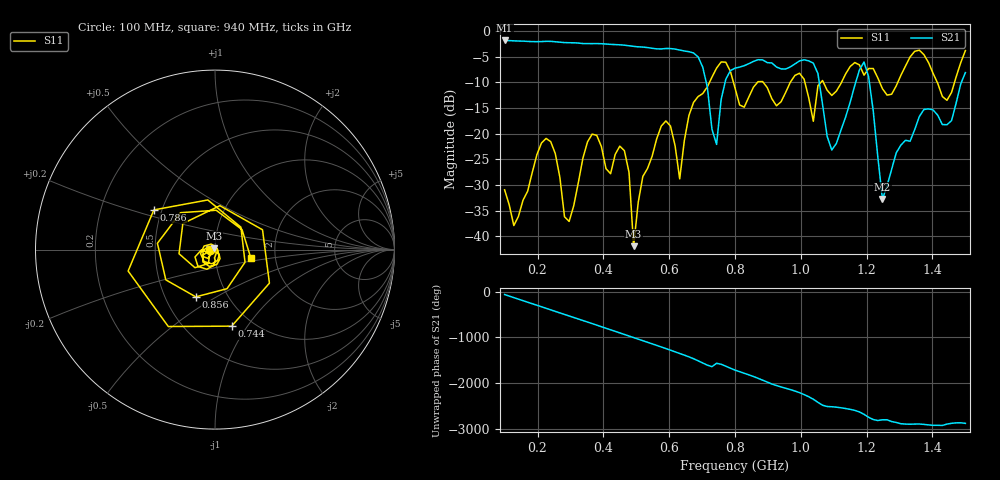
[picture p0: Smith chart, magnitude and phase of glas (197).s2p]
! NanoVNA-App
! Date: 2025-09-25 15:57:00
! Start: 100MHz Stop: 1,5GHz Points: 101
! S-Parameter data: F S11 S21 S12 S22
# Hz S RI R 50
!  Frequency  S11_Real  S11_Imag  S21_Real  S21_Imag  S12_Real  S12_Imag  S22_Real  S22_Imag
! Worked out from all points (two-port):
!   101 points, 100 MHz to 1.5 GHz, reference 50 ohm
!   highest |S21| = -1.80 dB at 100 MHz (marker M1); lowest = -32.7 dB at 1.248 GHz (marker M2)
!   |S21| within 3 dB of the highest: start of sweep to 684.1 MHz
!   lowest |S11| = -42.0 dB at 492 MHz (marker M3), VSWR 1.02, Z = 49.5 + j0.612 ohm
!   |S11| at or under -10 dB: start of sweep to 722.3 MHz; 795.4 MHz to 868.1 MHz (72.69 MHz wide, 8.74 % of centre); 886.1 MHz to 967.7 MHz (81.66 MHz wide, 8.81 % of centre) (the widest 3 of 7)
!   S12 and S22 are empty: the file has one direction only
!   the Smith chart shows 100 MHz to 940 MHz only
!   S11 on the Smith chart (normalised r, x): 100 MHz: 0.95, -0.01; 744 MHz: 0.81, -0.85; 786 MHz: 0.45, +0.24; 856 MHz: 0.71, -0.41; 940 MHz: 1.49, -0.15
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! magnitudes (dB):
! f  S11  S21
! 100 MHz  -31.0  -1.8
! 128 MHz  -37.9  -1.9
! 226 MHz  -20.9  -2.0
! 296 MHz  -37.1  -2.2
! 338 MHz  -24.7  -2.4
! 464 MHz  -23.3  -2.7
! 492 MHz  -42.0  -3.0
! 576 MHz  -18.5  -3.5
! 632 MHz  -28.8  -3.7
! 702 MHz  -12.2  -7.0
! 744 MHz  -7.2  -22.1
! 786 MHz  -7.8  -7.7
! 800 MHz  -11.1  -7.2
! 856 MHz  -10.9  -5.9
! 940 MHz  -13.8  -7.4
! 996 MHz  -8.2  -5.8
! 1.038 GHz  -17.6  -6.2
! 1.094 GHz  -12.5  -23.2
! 1.192 GHz  -8.6  -6.0
! 1.248 GHz  -11.2  -32.7
! 1.276 GHz  -12.3  -26.9
! 1.5 GHz  -3.8  -8.1
